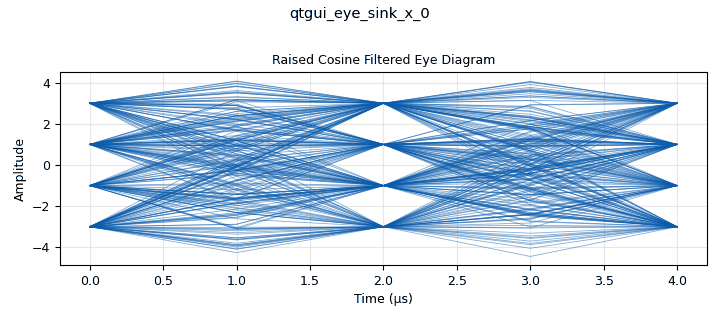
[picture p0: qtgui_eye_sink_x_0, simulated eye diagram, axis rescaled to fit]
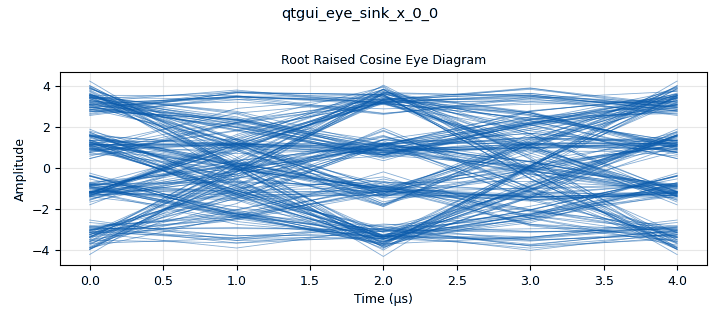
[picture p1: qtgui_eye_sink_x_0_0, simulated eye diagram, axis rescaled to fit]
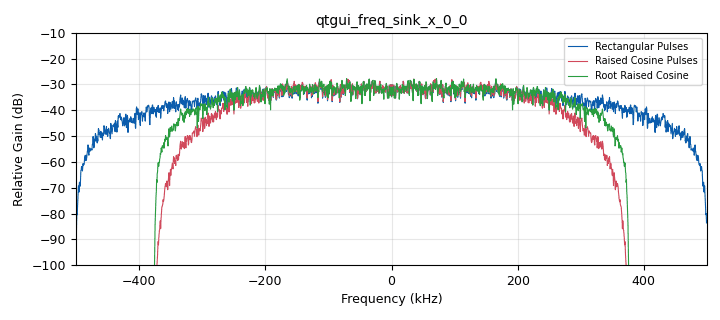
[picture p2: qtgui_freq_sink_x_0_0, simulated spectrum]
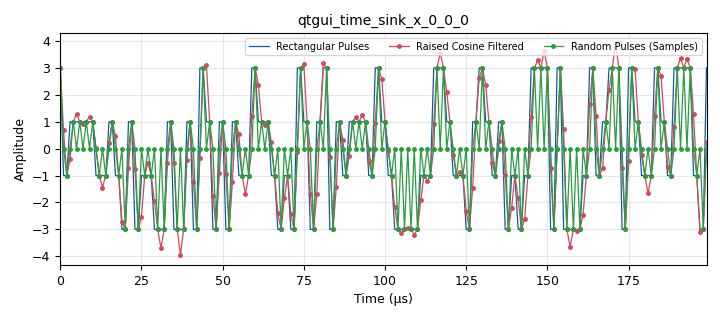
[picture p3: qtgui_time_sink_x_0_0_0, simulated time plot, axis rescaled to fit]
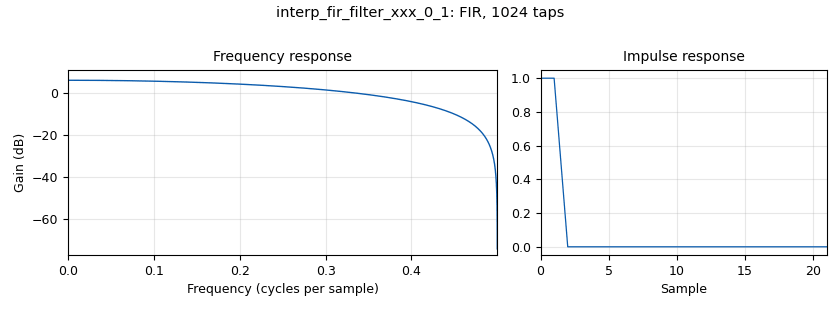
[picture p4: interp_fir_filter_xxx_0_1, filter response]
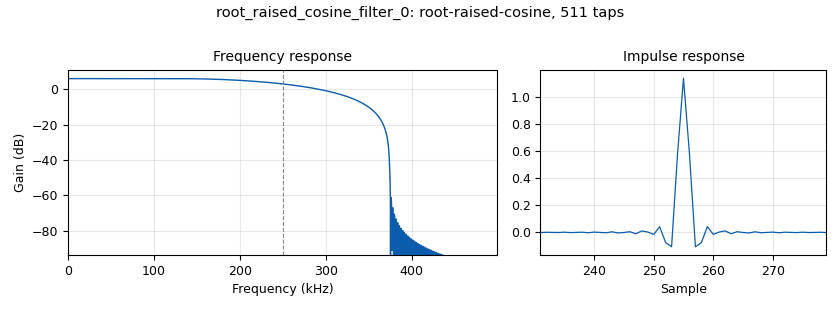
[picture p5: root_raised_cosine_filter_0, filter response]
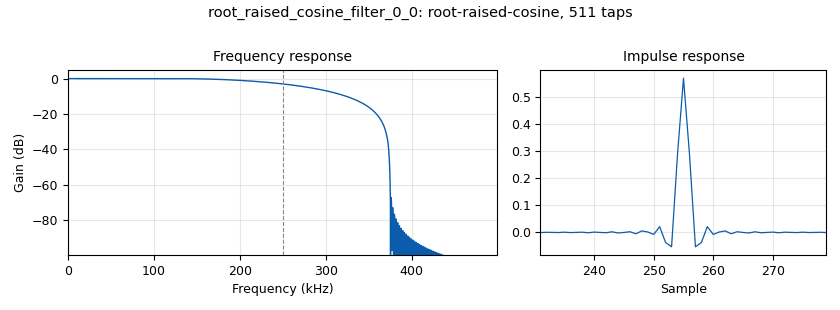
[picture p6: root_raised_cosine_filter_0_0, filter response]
options:
  parameters:
    author: jason
    generate_options: qt_gui
    generator_class_name: PythonQtGuiGenerator
    generator_module: gnuradio.grc.workflows.python_qt_gui
    id: lesson15hw_pulse_shaping
    output_language: python
    title: Pulse shaping and Nyquist ISI criterion
  states: {}

blocks:
- name: alpha
  id: variable_qtgui_range
  parameters:
    gui_hint: 2,0,1,2
    start: '0.01'
    step: '0.01'
    stop: '1'
    value: '.50'
  states: {}
- name: samp_rate
  id: variable
  parameters:
    value: 1e6
  states: {}
- name: sps
  id: variable
  parameters:
    value: '2'
  states: {}
- name: taps
  id: variable
  parameters:
    value: '511'
  states: {}
- name: analog_const_source_x_0
  id: analog_const_source_x
  parameters:
    const: '1'
    type: float
  states: {}
- name: analog_random_uniform_source_x_0
  id: analog_random_uniform_source_x
  parameters:
    maximum: '4'
    minimum: '0'
    seed: '0'
    type: byte
  states: {}
- name: blocks_char_to_float_0
  id: blocks_char_to_float
  parameters:
    scale: '1'
  states: {}
- name: blocks_delay_0
  id: blocks_delay
  parameters:
    delay: sps
    type: float
  states: {}
- name: blocks_delay_0_0
  id: blocks_delay
  parameters:
    delay: 2*sps
    type: float
  states: {}
- name: blocks_delay_0_0_0
  id: blocks_delay
  parameters:
    delay: int(taps-1-sps/2)
    type: float
  states: {}
- name: blocks_delay_1
  id: blocks_delay
  parameters:
    delay: taps-1
    type: float
  states: {}
- name: blocks_delay_1_1
  id: blocks_delay
  parameters:
    delay: int(taps-1-sps/2)
    type: float
  states: {}
- name: blocks_delay_2
  id: blocks_delay
  parameters:
    delay: sps//2
    type: float
  states: {}
- name: blocks_repeat_0
  id: blocks_repeat
  parameters:
    interp: sps
    type: float
  states: {}
- name: blocks_throttle_0
  id: blocks_throttle2
  parameters:
    samples_per_second: samp_rate
    type: float
  states: {}
- name: blocks_throttle_0_0
  id: blocks_throttle2
  parameters:
    samples_per_second: samp_rate
    type: byte
  states: {}
- name: digital_map_bb_0
  id: digital_map_bb
  parameters:
    map: '[+3, +1,-1, -3]'
  states: {}
- name: interp_fir_filter_xxx_0
  id: interp_fir_filter_xxx
  parameters:
    comment: one pulse every 1024 samples
    interp: '1024'
    taps: '[1]+[0]*1023'
    type: fff
  states: {}
- name: interp_fir_filter_xxx_0_0
  id: interp_fir_filter_xxx
  parameters:
    interp: sps
    taps: '[1]+[0]*(sps-1)'
    type: fff
  states: {}
- name: interp_fir_filter_xxx_0_1
  id: interp_fir_filter_xxx
  parameters:
    comment: one rectangular pulse every 1024 samples
    interp: '1024'
    taps: '[1]*sps+[0.0]*(1024-sps)'
    type: fff
  states: {}
- name: qtgui_eye_sink_x_0
  id: qtgui_eye_sink_x
  parameters:
    color1: red
    gui_hint: 5,1
    label1: Raised Cosine Filtered Eye Diagram
    samp_per_symbol: sps
    size: '1000'
    srate: samp_rate
    type: float
    ymax: '2'
    ymin: '-2'
  states: {}
- name: qtgui_eye_sink_x_0_0
  id: qtgui_eye_sink_x
  parameters:
    color1: green
    gui_hint: 5,0
    label1: Root Raised Cosine Eye Diagram
    samp_per_symbol: sps
    size: '1000'
    srate: samp_rate
    type: float
    ymax: '2'
    ymin: '-2'
  states: {}
- name: qtgui_freq_sink_x_0
  id: qtgui_freq_sink_x
  parameters:
    bw: samp_rate
    fc: '0'
    fftsize: '1024'
    gui_hint: 0,1
    label1: Rectangular Pulse
    label2: Raised Cosine Pulse
    nconnections: '2'
    type: float
    ymax: '-30'
    ymin: '-100'
  states: {}
- name: qtgui_freq_sink_x_0_0
  id: qtgui_freq_sink_x
  parameters:
    average: '0.1'
    bw: samp_rate
    fc: '0'
    fftsize: 1024*2
    gui_hint: 3,1
    label1: Rectangular Pulses
    label2: Raised Cosine Pulses
    label3: Root Raised Cosine
    nconnections: '3'
    type: float
    ymax: '-10'
    ymin: '-100'
  states: {}
- name: qtgui_time_sink_x_0
  id: qtgui_time_sink_x
  parameters:
    grid: 'True'
    gui_hint: 1,0,1,2
    label1: Previous RRC Pulse
    label2: This RRC Pulse
    label3: Next RRC Pulse
    marker1: '0'
    marker2: '0'
    marker3: '0'
    nconnections: '3'
    size: '200'
    srate: samp_rate
    style2: '4'
    tr_delay: '90e-6'
    tr_level: '1'
    tr_mode: qtgui.TRIG_MODE_AUTO
    type: float
    ymax: '1.1'
    ymin: '-0.4'
  states: {}
- name: qtgui_time_sink_x_0_0_0
  id: qtgui_time_sink_x
  parameters:
    grid: 'True'
    gui_hint: 3,0
    label1: Rectangular Pulses
    label2: Raised Cosine Filtered
    label3: Random Pulses (Samples)
    marker2: '0'
    marker3: '0'
    nconnections: '3'
    size: '200'
    srate: samp_rate
    tr_level: '0'
    type: float
    ymax: '2'
    ymin: '-2'
  states: {}
- name: qtgui_time_sink_x_1
  id: qtgui_time_sink_x
  parameters:
    gui_hint: 0,0
    label1: Rectangular Pulse
    label2: Raised Cosine Pulse
    nconnections: '2'
    size: '1024'
    srate: samp_rate
    type: float
    width2: '2'
    ymin: '-.3'
  states: {}
- name: root_raised_cosine_filter_0
  id: root_raised_cosine_filter
  parameters:
    alpha: alpha
    comment: |-
      RRC Filter once
      This output modulates the transmitter
    decim: '1'
    gain: sps
    ntaps: taps
    samp_rate: samp_rate
    sym_rate: samp_rate/sps
    type: fir_filter_fff
  states: {}
- name: root_raised_cosine_filter_0_0
  id: root_raised_cosine_filter
  parameters:
    alpha: alpha
    comment: |-
      RRC Filter a seocnd time
      in the receiver
      Makes a Raised Cosine pulse
    decim: '1'
    gain: '1'
    ntaps: taps
    samp_rate: samp_rate
    sym_rate: samp_rate/sps
    type: fir_filter_fff
  states: {}
- name: root_raised_cosine_filter_0_0_0
  id: root_raised_cosine_filter
  parameters:
    alpha: alpha
    comment: |-
      RRC Filter a seocnd time
      in the receiver
    decim: '1'
    gain: '1'
    ntaps: taps
    samp_rate: samp_rate
    sym_rate: samp_rate/sps
    type: fir_filter_fff
  states: {}
- name: root_raised_cosine_filter_0_1
  id: root_raised_cosine_filter
  parameters:
    alpha: alpha
    comment: |-
      RRC Filter once
      This output modulates
      the transmitter cos and sin
    decim: '1'
    gain: sps
    ntaps: taps
    samp_rate: samp_rate
    sym_rate: samp_rate/sps
    type: fir_filter_fff
  states: {}

connections:
- [analog_const_source_x_0, '0', blocks_throttle_0, '0']
- [analog_random_uniform_source_x_0, '0', blocks_throttle_0_0, '0']
- [blocks_char_to_float_0, '0', blocks_repeat_0, '0']
- [blocks_char_to_float_0, '0', interp_fir_filter_xxx_0_0, '0']
- [blocks_delay_0, '0', qtgui_time_sink_x_0, '1']
- [blocks_delay_0_0, '0', qtgui_time_sink_x_0, '2']
- [blocks_delay_0_0_0, '0', qtgui_freq_sink_x_0, '0']
- [blocks_delay_0_0_0, '0', qtgui_time_sink_x_1, '0']
- [blocks_delay_1, '0', qtgui_time_sink_x_0_0_0, '2']
- [blocks_delay_1_1, '0', qtgui_freq_sink_x_0_0, '0']
- [blocks_delay_1_1, '0', qtgui_time_sink_x_0_0_0, '0']
- [blocks_delay_2, '0', qtgui_eye_sink_x_0_0, '0']
- [blocks_repeat_0, '0', blocks_delay_1_1, '0']
- [blocks_throttle_0, '0', interp_fir_filter_xxx_0, '0']
- [blocks_throttle_0, '0', interp_fir_filter_xxx_0_1, '0']
- [blocks_throttle_0_0, '0', digital_map_bb_0, '0']
- [digital_map_bb_0, '0', blocks_char_to_float_0, '0']
- [interp_fir_filter_xxx_0, '0', root_raised_cosine_filter_0, '0']
- [interp_fir_filter_xxx_0_0, '0', blocks_delay_1, '0']
- [interp_fir_filter_xxx_0_0, '0', root_raised_cosine_filter_0_1, '0']
- [interp_fir_filter_xxx_0_1, '0', blocks_delay_0_0_0, '0']
- [root_raised_cosine_filter_0, '0', root_raised_cosine_filter_0_0, '0']
- [root_raised_cosine_filter_0_0, '0', blocks_delay_0, '0']
- [root_raised_cosine_filter_0_0, '0', blocks_delay_0_0, '0']
- [root_raised_cosine_filter_0_0, '0', qtgui_freq_sink_x_0, '1']
- [root_raised_cosine_filter_0_0, '0', qtgui_time_sink_x_0, '0']
- [root_raised_cosine_filter_0_0, '0', qtgui_time_sink_x_1, '1']
- [root_raised_cosine_filter_0_0_0, '0', qtgui_eye_sink_x_0, '0']
- [root_raised_cosine_filter_0_0_0, '0', qtgui_freq_sink_x_0_0, '1']
- [root_raised_cosine_filter_0_0_0, '0', qtgui_time_sink_x_0_0_0, '1']
- [root_raised_cosine_filter_0_1, '0', blocks_delay_2, '0']
- [root_raised_cosine_filter_0_1, '0', qtgui_freq_sink_x_0_0, '2']
- [root_raised_cosine_filter_0_1, '0', root_raised_cosine_filter_0_0_0, '0']

metadata:
  file_format: 1
  grc_version: 3.10.12.0
